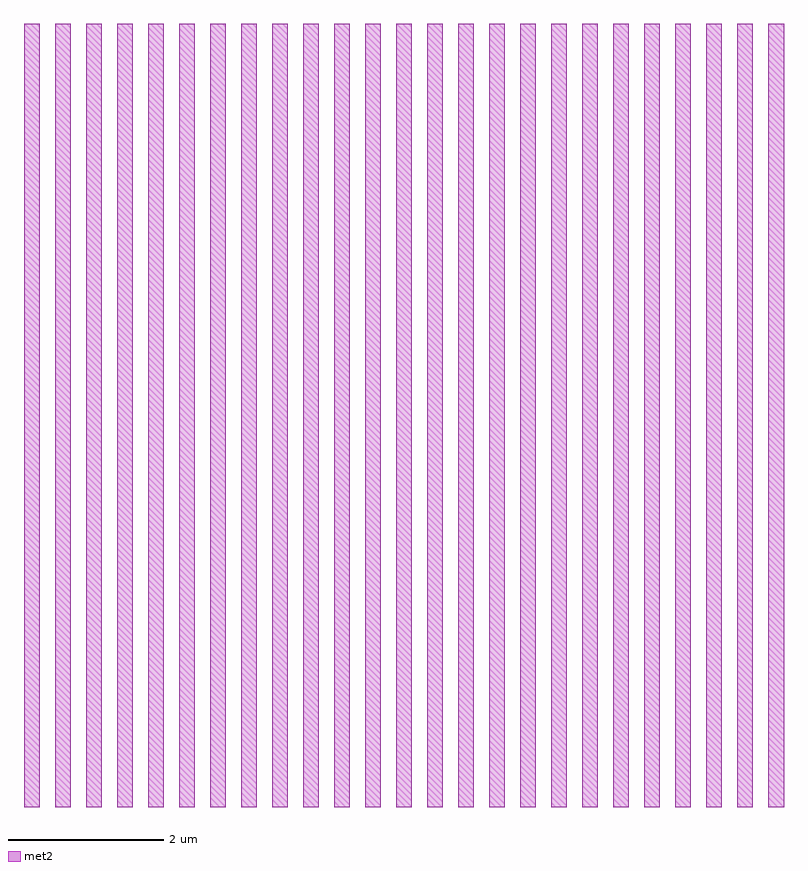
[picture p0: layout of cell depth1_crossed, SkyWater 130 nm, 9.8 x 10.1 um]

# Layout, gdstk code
import gdstk
lib = gdstk.Library(unit=1e-6, precision=1e-09)
def R(c, l, rs):  # rectangles x0, y0, x1, y1
    for r in rs: c.add(gdstk.rectangle(r[:2], r[2:], *l))
def A(c, l, x, y, w, h, nx, ny, dx, dy):  # array of equal rectangles
    R(c, l, [(x+i*dx, y+j*dy, x+i*dx+w, y+j*dy+h) for i in range(nx) for j in range(ny)])
met2 = (69, 20)

depth1_crossed = lib.new_cell('depth1_crossed')
A(depth1_crossed, met2, 0, 0, 0.2, 10.1, 25, 1, 0.4, 0)

lib.write_gds('depth1_crossed.gds')
